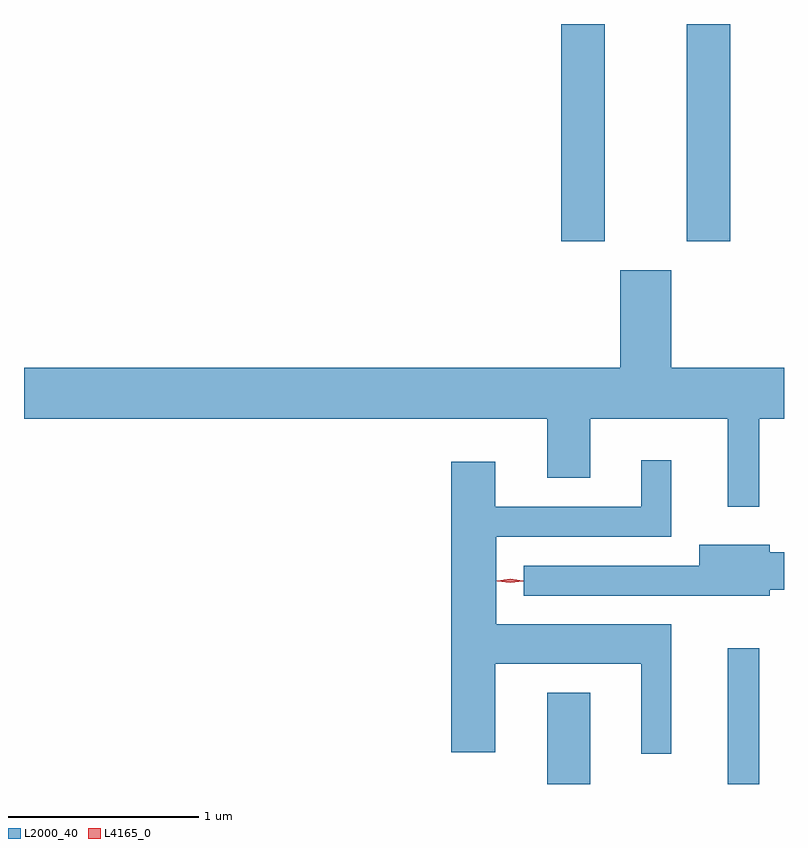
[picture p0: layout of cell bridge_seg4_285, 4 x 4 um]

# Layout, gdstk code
import gdstk
lib = gdstk.Library(unit=1e-6, precision=1e-09)
def R(c, l, rs):  # rectangles x0, y0, x1, y1
    for r in rs: c.add(gdstk.rectangle(r[:2], r[2:], *l))
def P(c, l, *ps):  # polygons
    for p in ps: c.add(gdstk.Polygon(p, *l))
L2000_40 = (2000, 40)
L4165_0 = (4165, 0)

bridge_seg4_285 = lib.new_cell('bridge_seg4_285')
R(bridge_seg4_285, L2000_40, [(572.851,1328.334,573.079,1328.814), (573.801,1328.334,573.969,1329.048), (572.926,1331.191,573.154,1332.334), (573.586,1331.191,573.814,1332.334)])
P(bridge_seg4_285, L2000_40, [(573.969,1330.256),(574.098,1330.256),(574.098,1330.524),(573.504,1330.524),(573.504,1331.039),(573.236,1331.039),(573.236,1330.524),(570.098,1330.524),(570.098,1330.256),(572.851,1330.256),(572.851,1329.946),(573.079,1329.946),(573.079,1330.256),(573.801,1330.256),(573.801,1329.793),(573.969,1329.793)],
  [(573.504,1329.174),(572.584,1329.174),(572.584,1329.636),(573.504,1329.636),(573.504,1330.038),(573.346,1330.038),(573.346,1329.794),(572.579,1329.794),(572.579,1330.029),(572.346,1330.029),(572.346,1328.501),(572.579,1328.501),(572.579,1328.966),(573.346,1328.966),(573.346,1328.493),(573.504,1328.493)],
  [(574.024,1329.356),(574.098,1329.356),(574.098,1329.554),(574.024,1329.554),(574.024,1329.594),(573.651,1329.594),(573.651,1329.484),(572.728,1329.484),(572.728,1329.326),(574.024,1329.326)])
P(bridge_seg4_285, L4165_0, [(572.657,1329.393),(572.591,1329.402),(572.59,1329.403),(572.591,1329.403),(572.657,1329.413),(572.722,1329.403),(572.723,1329.403),(572.722,1329.402)],
  [(572.657,1329.393),(572.588,1329.402),(572.587,1329.403),(572.588,1329.403),(572.657,1329.413),(572.726,1329.403),(572.726,1329.403),(572.726,1329.402)])

lib.write_gds('bridge_seg4_285.gds')
